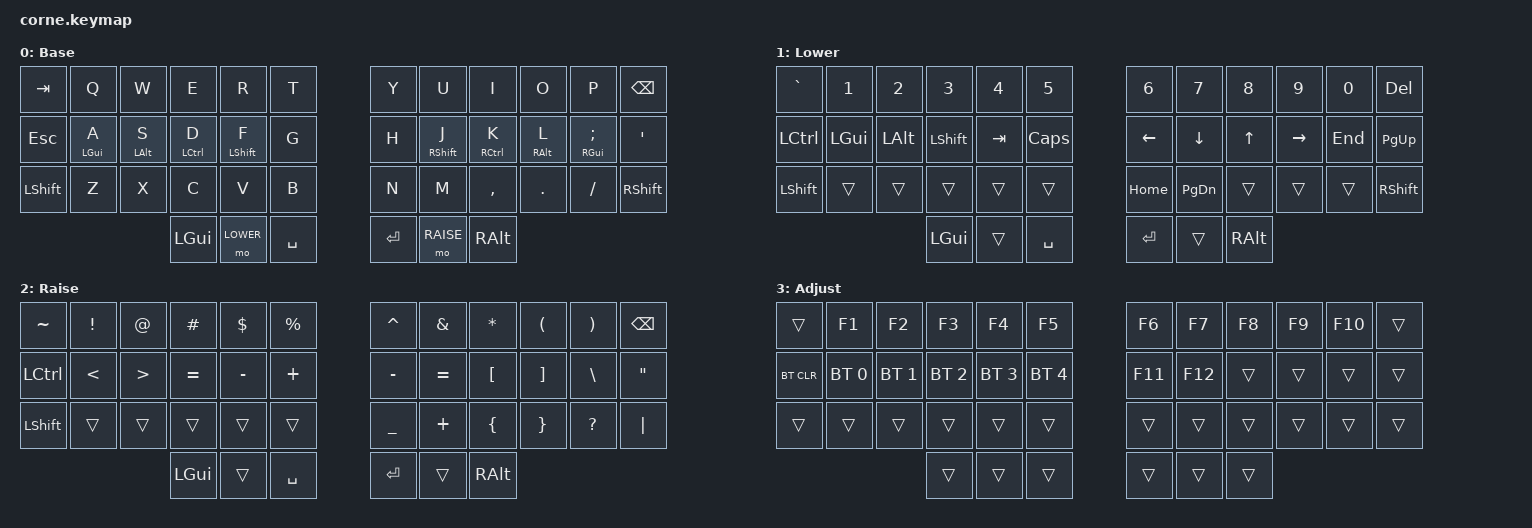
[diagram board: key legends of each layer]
/*
 * Copyright (c) 2020 The ZMK Contributors
 *
 * SPDX-License-Identifier: MIT
 */

#include <behaviors.dtsi>
#include <dt-bindings/zmk/keys.h>
#include <dt-bindings/zmk/bt.h>

#define DEFAULT 0
#define LOWER   1
#define RAISE   2
#define ADJUST  3

/ {
        behaviors {
                hm: homerow_mods {
                        compatible = "zmk,behavior-hold-tap";
                        label = "HOMEROW_MODS";
                        #binding-cells = <2>;
                        flavor = "balanced";
                        tapping-term-ms = <200>;
                        quick-tap-ms = <175>;
                        require-prior-idle-ms = <100>;
                        bindings = <&kp>, <&kp>;
                };
        };

        conditional_layers {
                compatible = "zmk,conditional-layers";

                adjust_layer {
                        if-layers = <LOWER RAISE>;
                        then-layer = <ADJUST>;
                };
        };

        keymap {
                compatible = "zmk,keymap";

                default_layer {
                        display-name = "Base";
// -----------------------------------------------------------------------------------------
// |  TAB |  Q  |  W  |  E  |  R  |  T  |   |  Y  |  U   |  I  |  O  |  P  | BSPC |
// | ESC  | GUI/A|ALT/S|CTL/D|SFT/F|  G  |   |  H  |SFT/J|CTL/K|ALT/L|GUI/;|  '   |
// | SHFT |  Z  |  X  |  C  |  V  |  B  |   |  N  |  M   |  ,  |  .  |  /  | SHFT |
//                    | GUI | LWR | SPC |   | ENT | RSE  | ALT |
                        bindings = <
   &kp TAB   &kp Q &kp W &kp E &kp R &kp T   &kp Y &kp U  &kp I     &kp O   &kp P    &kp BSPC
   &kp ESC   &hm LGUI A &hm LALT S &hm LCTRL D &hm LSHFT F &kp G   &kp H &hm RSHFT J &hm RCTRL K &hm RALT L &hm RGUI SEMI &kp SQT
   &kp LSHFT &kp Z &kp X &kp C &kp V &kp B   &kp N &kp M  &kp COMMA &kp DOT &kp FSLH &kp RSHFT
                  &kp LGUI &mo LOWER &kp SPACE   &kp RET &mo RAISE &kp RALT
                        >;
                };
                lower_layer {
                        display-name = "Lower";
// -----------------------------------------------------------------------------------------
// |  `   |  1  |  2  |  3  |  4  |  5  |   |  6  |  7  |  8  |  9  |  0  | DEL  |
// | CTRL | GUI | ALT | SHFT| TAB | CAPS |   | LFT | DWN |  UP | RGT | END | PGUP |
// | SHFT |     |     |     |     |     |   | HOME| PGDN|     |     |     | SHFT |
//                    | GUI |     | SPC |   | ENT |     | ALT |
                        bindings = <
   &kp GRAVE &kp N1   &kp N2   &kp N3    &kp N4  &kp N5     &kp N6   &kp N7    &kp N8 &kp N9    &kp N0  &kp DEL
   &kp LCTRL &kp LGUI &kp LALT &kp LSHFT &kp TAB &kp CAPS   &kp LEFT &kp DOWN  &kp UP &kp RIGHT &kp END &kp PG_UP
   &kp LSHFT &trans   &trans   &trans    &trans  &trans     &kp HOME &kp PG_DN &trans &trans    &trans  &kp RSHFT
                              &kp LGUI &trans &kp SPACE     &kp RET  &trans    &kp RALT
                        >;
                };

                raise_layer {
                        display-name = "Raise";
// -----------------------------------------------------------------------------------------
// |  ~   |  !  |  @  |  #  |  $  |  %  |   |  ^  |  &  |  *  |  (  |  )  | BSPC |
// | CTRL |  <  |  >  |  =  |  -  |  +  |   |  -  |  =  |  [  |  ]  |  \  |  "   |
// | SHFT |     |     |     |     |     |   |  _  |  +  |  {  |  }  |  ?  | "|" |
//                    | GUI |     | SPC |   | ENT |     | ALT |
                        bindings = <
   &kp TILDE &kp EXCL &kp AT &kp HASH &kp DLLR &kp PRCNT   &kp CARET &kp AMPS  &kp ASTRK &kp LPAR &kp RPAR &kp BSPC
   &kp LCTRL &kp LT   &kp GT &kp EQUAL &kp MINUS &kp PLUS  &kp MINUS &kp EQUAL &kp LBKT  &kp RBKT &kp BSLH &kp DQT
   &kp LSHFT &trans   &trans &trans   &trans   &trans      &kp UNDER &kp PLUS  &kp LBRC  &kp RBRC &kp QMARK &kp PIPE
                             &kp LGUI &trans   &kp SPACE   &kp RET   &trans    &kp RALT
                        >;
                };

                adjust_layer {
                        display-name = "Adjust";
// -----------------------------------------------------------------------------------------
// |      | F1  | F2  | F3  | F4  | F5  |   | F6  | F7  | F8  | F9  | F10 |      |
// | BTCLR| BT1 | BT2 | BT3 | BT4 | BT5 |   | F11 | F12 |     |     |     |      |
// |      |     |     |     |     |     |   |     |     |     |     |     |      |
//                    |     |     |     |   |     |     |     |
                        bindings = <
   &trans    &kp F1       &kp F2       &kp F3       &kp F4       &kp F5         &kp F6  &kp F7  &kp F8 &kp F9 &kp F10 &trans
   &bt BT_CLR &bt BT_SEL 0 &bt BT_SEL 1 &bt BT_SEL 2 &bt BT_SEL 3 &bt BT_SEL 4   &kp F11 &kp F12 &trans &trans &trans  &trans
   &trans    &trans       &trans       &trans       &trans       &trans         &trans  &trans  &trans &trans &trans  &trans
                                          &trans     &trans       &trans         &trans  &trans  &trans
                        >;
                };
        };
};
